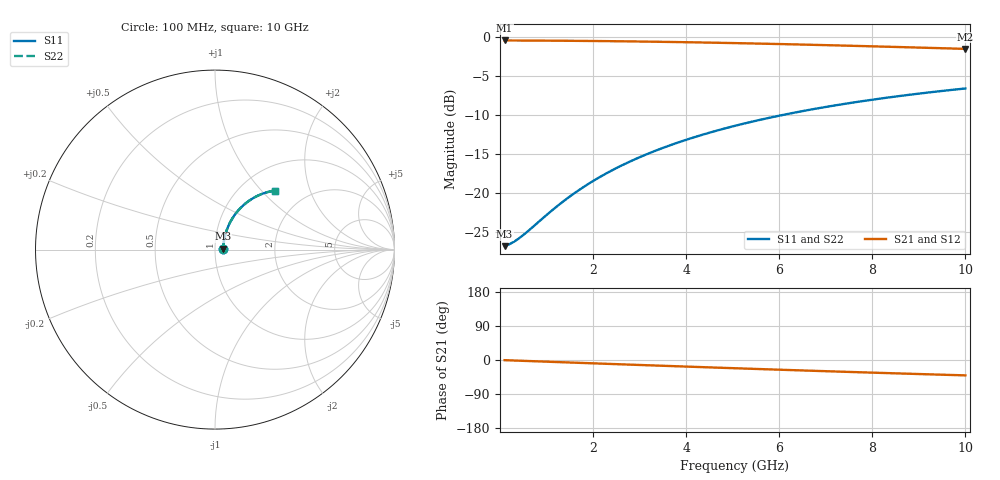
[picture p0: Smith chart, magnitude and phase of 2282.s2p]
# Hz S RI R 50.00
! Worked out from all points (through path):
!   100 points, 100 MHz to 10 GHz, reference 50 ohm
!   highest |S21| = -0.40 dB at 100 MHz (marker M1); lowest = -1.5 dB at 10 GHz (marker M2)
!   group delay of S21, straight-line fit = 11.3 ps
!   lowest |S11| = -26.8 dB at 100 MHz (marker M3), VSWR 1.10, Z = 54.7 + j0.571 ohm
!   |S11| at or under -10 dB: start of sweep to 6.052 GHz
!   |S22| runs from -26.8 to -6.6 dB; largest |S21 - S12| = 0
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1e8  0.0453 0.0052  0.9547 -0.00736  0.9547 -0.00736  0.0453 0.0052
2e8  0.0457 0.0104  0.9542 -0.0147  0.9542 -0.0147  0.0457 0.0104
3e8  0.0462 0.0156  0.9538 -0.0221  0.9538 -0.0221  0.0462 0.0156
4e8  0.0466 0.0208  0.9534 -0.0294  0.9534 -0.0294  0.0466 0.0208
6e8  0.0477 0.0311  0.9522 -0.044  0.9522 -0.044  0.0477 0.0311
1e9  0.0506 0.0516  0.9491 -0.0732  0.9491 -0.0732  0.0506 0.0516
1.3e9  0.0536 0.0668  0.946 -0.0949  0.946 -0.0949  0.0536 0.0668
1.5e9  0.0559 0.0769  0.9435 -0.1092  0.9435 -0.1092  0.0559 0.0769
1.8e9  0.06 0.0917  0.9392 -0.1306  0.9392 -0.1306  0.06 0.0917
2.1e9  0.0647 0.1064  0.9342 -0.1517  0.9342 -0.1517  0.0647 0.1064
2.5e9  0.072 0.1254  0.9265 -0.1794  0.9265 -0.1794  0.072 0.1254
2.9e9  0.0803 0.1439  0.9176 -0.2066  0.9176 -0.2066  0.0803 0.1439
3.4e9  0.0922 0.1661  0.905 -0.2396  0.905 -0.2396  0.0922 0.1661
3.8e9  0.1027 0.183  0.8937 -0.2652  0.8937 -0.2652  0.1027 0.183
4.2e9  0.1142 0.1991  0.8815 -0.2901  0.8815 -0.2901  0.1142 0.1991
4.6e9  0.1264 0.2144  0.8684 -0.3141  0.8684 -0.3141  0.1264 0.2144
5.1e9  0.1428 0.2323  0.8509 -0.3429  0.8509 -0.3429  0.1428 0.2323
5.9e9  0.171 0.2579  0.8205 -0.386  0.8205 -0.386  0.171 0.2579
6.7e9  0.2012 0.2797  0.7878 -0.4253  0.7878 -0.4253  0.2012 0.2797
7.5e9  0.2328 0.2975  0.7534 -0.4609  0.7534 -0.4609  0.2328 0.2975
8.4e9  0.2694 0.313  0.7132 -0.4964  0.7132 -0.4964  0.2694 0.313
1e10  0.3349 0.3291  0.6401 -0.5484  0.6401 -0.5484  0.3349 0.3291
